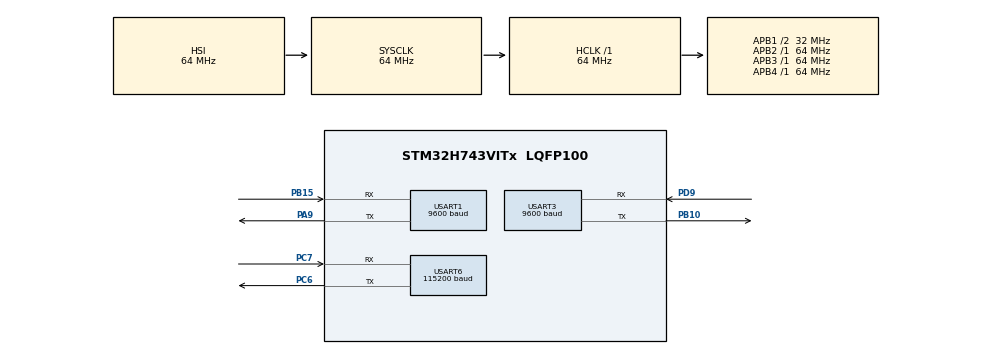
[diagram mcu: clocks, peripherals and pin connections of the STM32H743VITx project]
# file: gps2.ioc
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CORTEX_M7.default_mode_Activation=1
Mcu.Family=STM32H7
Mcu.Name=STM32H743VITx
Mcu.Package=LQFP100
NVIC.PriorityGroup=NVIC_PRIORITYGROUP_4
NVIC.RCC_IRQn=true\:0\:0\:false\:false\:true\:true\:false\:true
NVIC.USART1_IRQn=true\:0\:0\:false\:false\:true\:true\:true\:true
NVIC.USART3_IRQn=true\:0\:0\:false\:false\:true\:true\:true\:true
PA13\ (JTMS/SWDIO).Mode=Serial_Wire
PA13\ (JTMS/SWDIO).Signal=DEBUG_JTMS-SWDIO
PA14\ (JTCK/SWCLK).Mode=Serial_Wire
PA14\ (JTCK/SWCLK).Signal=DEBUG_JTCK-SWCLK
PA9.Mode=Asynchronous
PA9.Signal=USART1_TX
PB10.Mode=Asynchronous
PB10.Signal=USART3_TX
PB15.Mode=Asynchronous
PB15.Signal=USART1_RX
PC6.Mode=Asynchronous
PC6.Signal=USART6_TX
PC7.Mode=Asynchronous
PC7.Signal=USART6_RX
PD9.Mode=Asynchronous
PD9.Signal=USART3_RX
PH0-OSC_IN\ (PH0).Mode=HSE-External-Oscillator
PH0-OSC_IN\ (PH0).Signal=RCC_OSC_IN
PH1-OSC_OUT\ (PH1).Mode=HSE-External-Oscillator
PH1-OSC_OUT\ (PH1).Signal=RCC_OSC_OUT
ProjectManager.HeapSize=0x200
ProjectManager.StackSize=0x400
ProjectManager.TargetToolchain=STM32CubeIDE
RCC.ADCFreq_Value=129000000
RCC.APB1Freq_Value=32000000
RCC.APB2Freq_Value=64000000
RCC.APB3Freq_Value=64000000
RCC.APB4Freq_Value=64000000
RCC.CortexFreq_Value=64000000
RCC.D2PPRE1=RCC_APB1_DIV2
RCC.HCLKFreq_Value=64000000
RCC.SYSCLKFreq_VALUE=64000000
RCC.USBFreq_Value=129000000
USART1.BaudRate=9600
USART1.Mode=MODE_TX
USART1.VirtualMode-Asynchronous=VM_ASYNC
USART3.BaudRate=9600
USART3.VirtualMode-Asynchronous=VM_ASYNC
USART6.BaudRate=115200
USART6.VirtualMode=VM_ASYNC
VP_MEMORYMAP_VS_MEMORYMAP.Mode=CurAppReg
board=custom

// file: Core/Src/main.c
/* USER CODE BEGIN Header */
/**
  ******************************************************************************
  * @file           : main.c
  * @brief          : Main program body
  ******************************************************************************
  * @attention
  *
  * Copyright (c) 2026 STMicroelectronics.
  * All rights reserved.
  *
  * This software is licensed under terms that can be found in the LICENSE file
  * in the root directory of this software component.
  * If no LICENSE file comes with this software, it is provided AS-IS.
  *
  ******************************************************************************
  */
/* USER CODE END Header */
#include "main.h"

/* USER CODE BEGIN Includes */
#include <stdlib.h>
#include <string.h>
#include <stdio.h>
#include "uartRingBuffer.h"
/* USER CODE END Includes */

UART_HandleTypeDef huart1;
UART_HandleTypeDef huart3;
UART_HandleTypeDef huart6;

/* USER CODE BEGIN PV */
char gps_ham_veri[100];
int veri_durumu = 0;
char time[15];
char latitude[15];
char latitude_direction[2];
char longitude[15];
char longitude_direction[2];
//char mock_gps_data[] = "$GPGGA,143000.000,4144.4532,N,02211.3541,E,1,08,1.1,200.5,M,34.5,M,,*67\r\n";
//char utc_time[15];
//char latitude[15];
//char longitude[15]; //
/* USER CODE END PV */

void SystemClock_Config(void);
static void MPU_Config(void);
static void MX_GPIO_Init(void);
static void MX_USART1_UART_Init(void);
static void MX_USART3_UART_Init(void);
static void MX_USART6_UART_Init(void);
/* USER CODE BEGIN PFP */
//void Parse_GPS_Data(char *nmea_sentence);
/* USER CODE END PFP */

/* USER CODE BEGIN Includes */
#include <stdlib.h>
#include <string.h>
#include <stdio.h>
#include "uartRingBuffer.h"
/* USER CODE END Includes */
/* USER CODE BEGIN PV */
char gps_ham_veri[100];
char time[15];
char latitude[15];
char latitude_direction[2];
char longitude[15];
char longitude_direction[2];
/* USER CODE END PV */
/* USER CODE BEGIN 0 */
void get_nmea_field(char *nmea_str, int field_num, char *output) {
    int comma_count = 0;
    int i = 0, j = 0;
    while (nmea_str[i] != '\0' && nmea_str[i] != '*') {
        if (nmea_str[i] == ',') {
            comma_count++;
            i++;
            continue;
        }
        if (comma_count == field_num) {
            output[j++] = nmea_str[i];
        }
        if (comma_count > field_num) break;
        i++;
    }
    output[j] = '\0';
}

/* USER CODE END 0 */

int main(void)
{

  /* MPU Configuration--------------------------------------------------------*/
  MPU_Config();

  /* MCU Configuration--------------------------------------------------------*/

  /* Reset of all peripherals, Initializes the Flash interface and the Systick. */
  HAL_Init();

  /* Configure the system clock */
  SystemClock_Config();

  /* Initialize all configured peripherals */
  MX_GPIO_Init();
  MX_USART1_UART_Init();
  MX_USART3_UART_Init();
  MX_USART6_UART_Init();
  /* USER CODE BEGIN 2 */
  Ringbuf_init();

  /* USER CODE END 2 */

  /* Infinite loop */
  /* USER CODE BEGIN WHILE */
  while (1)
    {
          if (Wait_for("GGA") == 1)
          {
              Copy_upto("*", gps_ham_veri);
              get_nmea_field(gps_ham_veri, 1, time);
              get_nmea_field(gps_ham_veri, 2, latitude);
              get_nmea_field(gps_ham_veri, 3, latitude_direction);
              get_nmea_field(gps_ham_veri, 4, longitude);
              get_nmea_field(gps_ham_veri, 5, longitude_direction);
              veri_durumu = 1;
              char buf[100];
                        sprintf(buf, "LAT:%s %s LON:%s %s TIME:%s\r\n",
                                latitude, latitude_direction,
                                longitude, longitude_direction,
                                time);
                        HAL_UART_Transmit(&huart1, (uint8_t*)buf, strlen(buf), 100);

          }
          else
          {
              veri_durumu = 0;
          }

          HAL_Delay(500);
    }
}
    /* USER CODE END WHILE */

void SystemClock_Config(void)
{
  RCC_OscInitTypeDef RCC_OscInitStruct = {0};
  RCC_ClkInitTypeDef RCC_ClkInitStruct = {0};

  /** Supply configuration update enable
  */
  HAL_PWREx_ConfigSupply(PWR_LDO_SUPPLY);

  /** Configure the main internal regulator output voltage
  */
  __HAL_PWR_VOLTAGESCALING_CONFIG(PWR_REGULATOR_VOLTAGE_SCALE3);

  while(!__HAL_PWR_GET_FLAG(PWR_FLAG_VOSRDY)) {}

  /** Initializes the RCC Oscillators according to the specified parameters
  * in the RCC_OscInitTypeDef structure.
  */
  RCC_OscInitStruct.OscillatorType = RCC_OSCILLATORTYPE_HSI;
  RCC_OscInitStruct.HSIState = RCC_HSI_DIV1;
  RCC_OscInitStruct.HSICalibrationValue = RCC_HSICALIBRATION_DEFAULT;
  RCC_OscInitStruct.PLL.PLLState = RCC_PLL_NONE;
  if (HAL_RCC_OscConfig(&RCC_OscInitStruct) != HAL_OK)
  {
    Error_Handler();
  }

  /** Initializes the CPU, AHB and APB buses clocks
  */
  RCC_ClkInitStruct.ClockType = RCC_CLOCKTYPE_HCLK|RCC_CLOCKTYPE_SYSCLK
                              |RCC_CLOCKTYPE_PCLK1|RCC_CLOCKTYPE_PCLK2
                              |RCC_CLOCKTYPE_D3PCLK1|RCC_CLOCKTYPE_D1PCLK1;
  RCC_ClkInitStruct.SYSCLKSource = RCC_SYSCLKSOURCE_HSI;
  RCC_ClkInitStruct.SYSCLKDivider = RCC_SYSCLK_DIV1;
  RCC_ClkInitStruct.AHBCLKDivider = RCC_HCLK_DIV1;
  RCC_ClkInitStruct.APB3CLKDivider = RCC_APB3_DIV1;
  RCC_ClkInitStruct.APB1CLKDivider = RCC_APB1_DIV2;
  RCC_ClkInitStruct.APB2CLKDivider = RCC_APB2_DIV1;
  RCC_ClkInitStruct.APB4CLKDivider = RCC_APB4_DIV1;

  if (HAL_RCC_ClockConfig(&RCC_ClkInitStruct, FLASH_LATENCY_1) != HAL_OK)
  {
    Error_Handler();
  }
}

static void MX_USART1_UART_Init(void)
{

  huart1.Instance = USART1;
  huart1.Init.BaudRate = 9600;
  huart1.Init.WordLength = UART_WORDLENGTH_8B;
  huart1.Init.StopBits = UART_STOPBITS_1;
  huart1.Init.Parity = UART_PARITY_NONE;
  huart1.Init.Mode = UART_MODE_TX;
  huart1.Init.HwFlowCtl = UART_HWCONTROL_NONE;
  huart1.Init.OverSampling = UART_OVERSAMPLING_16;
  huart1.Init.OneBitSampling = UART_ONE_BIT_SAMPLE_DISABLE;
  huart1.Init.ClockPrescaler = UART_PRESCALER_DIV1;
  huart1.AdvancedInit.AdvFeatureInit = UART_ADVFEATURE_NO_INIT;
  if (HAL_UART_Init(&huart1) != HAL_OK)
  {
    Error_Handler();
  }
  if (HAL_UARTEx_SetTxFifoThreshold(&huart1, UART_TXFIFO_THRESHOLD_1_8) != HAL_OK)
  {
    Error_Handler();
  }
  if (HAL_UARTEx_SetRxFifoThreshold(&huart1, UART_RXFIFO_THRESHOLD_1_8) != HAL_OK)
  {
    Error_Handler();
  }
  if (HAL_UARTEx_DisableFifoMode(&huart1) != HAL_OK)
  {
    Error_Handler();
  }

}

static void MX_USART3_UART_Init(void)
{

  huart3.Instance = USART3;
  huart3.Init.BaudRate = 9600;
  huart3.Init.WordLength = UART_WORDLENGTH_8B;
  huart3.Init.StopBits = UART_STOPBITS_1;
  huart3.Init.Parity = UART_PARITY_NONE;
  huart3.Init.Mode = UART_MODE_TX_RX;
  huart3.Init.HwFlowCtl = UART_HWCONTROL_NONE;
  huart3.Init.OverSampling = UART_OVERSAMPLING_16;
  huart3.Init.OneBitSampling = UART_ONE_BIT_SAMPLE_DISABLE;
  huart3.Init.ClockPrescaler = UART_PRESCALER_DIV1;
  huart3.AdvancedInit.AdvFeatureInit = UART_ADVFEATURE_NO_INIT;
  if (HAL_UART_Init(&huart3) != HAL_OK)
  {
    Error_Handler();
  }
  if (HAL_UARTEx_SetTxFifoThreshold(&huart3, UART_TXFIFO_THRESHOLD_1_8) != HAL_OK)
  {
    Error_Handler();
  }
  if (HAL_UARTEx_SetRxFifoThreshold(&huart3, UART_RXFIFO_THRESHOLD_1_8) != HAL_OK)
  {
    Error_Handler();
  }
  if (HAL_UARTEx_DisableFifoMode(&huart3) != HAL_OK)
  {
    Error_Handler();
  }

}

static void MX_USART6_UART_Init(void)
{

  huart6.Instance = USART6;
  huart6.Init.BaudRate = 115200;
  huart6.Init.WordLength = UART_WORDLENGTH_8B;
  huart6.Init.StopBits = UART_STOPBITS_1;
  huart6.Init.Parity = UART_PARITY_NONE;
  huart6.Init.Mode = UART_MODE_TX_RX;
  huart6.Init.HwFlowCtl = UART_HWCONTROL_NONE;
  huart6.Init.OverSampling = UART_OVERSAMPLING_16;
  huart6.Init.OneBitSampling = UART_ONE_BIT_SAMPLE_DISABLE;
  huart6.Init.ClockPrescaler = UART_PRESCALER_DIV1;
  huart6.AdvancedInit.AdvFeatureInit = UART_ADVFEATURE_NO_INIT;
  if (HAL_UART_Init(&huart6) != HAL_OK)
  {
    Error_Handler();
  }
  if (HAL_UARTEx_SetTxFifoThreshold(&huart6, UART_TXFIFO_THRESHOLD_1_8) != HAL_OK)
  {
    Error_Handler();
  }
  if (HAL_UARTEx_SetRxFifoThreshold(&huart6, UART_RXFIFO_THRESHOLD_1_8) != HAL_OK)
  {
    Error_Handler();
  }
  if (HAL_UARTEx_DisableFifoMode(&huart6) != HAL_OK)
  {
    Error_Handler();
  }

}

static void MX_GPIO_Init(void)
{

  /* GPIO Ports Clock Enable */
  __HAL_RCC_GPIOH_CLK_ENABLE();
  __HAL_RCC_GPIOB_CLK_ENABLE();
  __HAL_RCC_GPIOD_CLK_ENABLE();
  __HAL_RCC_GPIOC_CLK_ENABLE();
  __HAL_RCC_GPIOA_CLK_ENABLE();

}

/* USER CODE BEGIN 4 */
/*void Parse_GPS_Data(char *nmea_sentence) {
    char temp_sentence[100];
    strncpy(temp_sentence, nmea_sentence, sizeof(temp_sentence));
    temp_sentence[99] = '\0';

    char *token = strtok(temp_sentence, ","); // $GPGGA

    if (token != NULL) {
        token = strtok(NULL, ","); // UTC Time
        if (token != NULL) strncpy(utc_time, token, sizeof(utc_time));

        token = strtok(NULL, ","); // Latitude
        if (token != NULL) strncpy(latitude, token, sizeof(latitude));

        token = strtok(NULL, ","); // N/S → atla
        token = strtok(NULL, ","); // Longitude
        if (token != NULL) strncpy(longitude, token, sizeof(longitude));
    }
}*/
/* USER CODE BEGIN 4 */

/* USER CODE END 4 */

 /* MPU Configuration */

void MPU_Config(void)
{
  MPU_Region_InitTypeDef MPU_InitStruct = {0};

  /* Disables the MPU */
  HAL_MPU_Disable();

  /** Initializes and configures the Region and the memory to be protected
  */
  MPU_InitStruct.Enable = MPU_REGION_ENABLE;
  MPU_InitStruct.Number = MPU_REGION_NUMBER0;
  MPU_InitStruct.BaseAddress = 0x0;
  MPU_InitStruct.Size = MPU_REGION_SIZE_4GB;
  MPU_InitStruct.SubRegionDisable = 0x87;
  MPU_InitStruct.TypeExtField = MPU_TEX_LEVEL0;
  MPU_InitStruct.AccessPermission = MPU_REGION_NO_ACCESS;
  MPU_InitStruct.DisableExec = MPU_INSTRUCTION_ACCESS_DISABLE;
  MPU_InitStruct.IsShareable = MPU_ACCESS_SHAREABLE;
  MPU_InitStruct.IsCacheable = MPU_ACCESS_NOT_CACHEABLE;
  MPU_InitStruct.IsBufferable = MPU_ACCESS_NOT_BUFFERABLE;

  HAL_MPU_ConfigRegion(&MPU_InitStruct);
  /* Enables the MPU */
  HAL_MPU_Enable(MPU_PRIVILEGED_DEFAULT);

}

void Error_Handler(void)
{
  __disable_irq();
  while (1)
  {
  }
}
